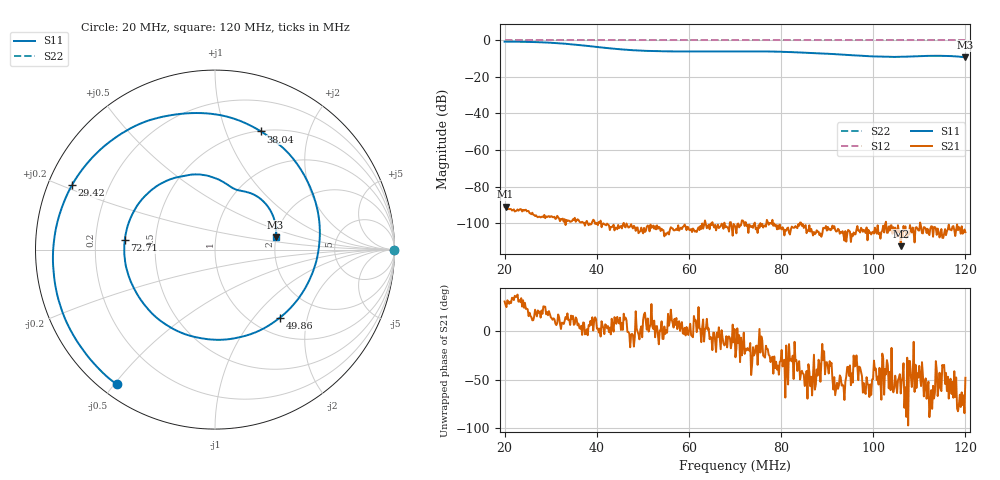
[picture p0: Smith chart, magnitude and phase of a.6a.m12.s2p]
! Anritsu VNA Master:  Model: MS2036C/10/77
! SN:  1601066
! /bd0/18may07/256.ew.m12.s2p
! Existing Calibration Information:
! TYPE:  Current Settings,  Active Cal Settings
! TIME:  05/07/2018 02:27:05 PM,  05/07/2018 02:21:54 PM
! INTERNAL TEMP:  56.5 C,  55.5 C
! # POINTS:  500,  500
! START FREQ:  20.000 MHz,  20.000 MHz
! STOP FREQ:  120.000 MHz,  120.000 MHz
! SOURCE POWER:  High,  High
! IFBW:  50 Hz,  50 Hz
! AVG FACTOR:  1 ,  1
! REF PLANE 1:  0 mm,  0 mm
! REF PLANE 2:  0 mm,  0 mm
! CAL TYPE:  Full S11,  Full S11
! CAL METHOD:  SOLT,  SOLT
! CAL LINE TYPE:  Coax,  Coax
! DUT PORT 1:  K-Conn(F),  K-Conn(F)
! DUT PORT 2:  K-Conn(F),  K-Conn(F)
! CAL STATUS:  OK: Accuracy High,  --
# GHZ S DB R 50.0
! FREQ.GHZ  S11DB  S11A  S21DB  S21A  S12DB  S12A  S22DB  S22A
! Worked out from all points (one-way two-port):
!   500 points, 20 MHz to 120 MHz, reference 50 ohm
!   highest |S21| = -91.01 dB at 20.2 MHz (marker M1); lowest = -112.7 dB at 106 MHz (marker M2)
!   lowest |S11| = -9.3 dB at 120 MHz (marker M3), VSWR 2.05, Z = 99.4 + j15.4 ohm
!   |S11| at or under -10 dB: nowhere
!   |S22| runs from 0.0 to 0.0 dB; largest |S21 - S12| = 1
!   S11 on the Smith chart (normalised r, x): 20 MHz: 0.05, -0.51; 29.42 MHz: 0.07, +0.22; 38.04 MHz: 0.51, +1.33; 49.86 MHz: 1.32, -1.38; 72.71 MHz: 0.33, +0.05; 120 MHz: 1.99, +0.31
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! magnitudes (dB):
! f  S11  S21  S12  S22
! 20 MHz  -0.6  -91.1  0.0  0.0
! 20.2 MHz  -0.6  -91.0  0.0  0.0
! 25.01 MHz  -0.8  -93.3  0.0  0.0
! 29.42 MHz  -1.2  -96.3  0.0  0.0
! 33.03 MHz  -1.8  -97.9  0.0  0.0
! 36.83 MHz  -2.7  -99.3  0.0  0.0
! 38.04 MHz  -3.0  -100.2  0.0  0.0
! 44.65 MHz  -4.7  -101.1  0.0  0.0
! 49.86 MHz  -5.6  -104.4  0.0  0.0
! 53.47 MHz  -5.9  -102.1  0.0  0.0
! 70.1 MHz  -5.9  -102.3  0.0  0.0
! 72.71 MHz  -5.9  -101.0  0.0  0.0
! 79.32 MHz  -6.1  -101.2  0.0  0.0
! 86.73 MHz  -6.9  -104.8  0.0  0.0
! 90.74 MHz  -7.4  -103.9  0.0  0.0
! 99.36 MHz  -8.7  -105.0  0.0  0.0
! 103.4 MHz  -9.0  -101.9  0.0  0.0
! 106 MHz  -8.9  -112.7  0.0  0.0
! 111.2 MHz  -8.5  -102.4  0.0  0.0
! 114.4 MHz  -8.4  -107.9  0.0  0.0
! 117.4 MHz  -8.6  -101.6  0.0  0.0
! 120 MHz  -9.3  -105.0  0.0  0.0
